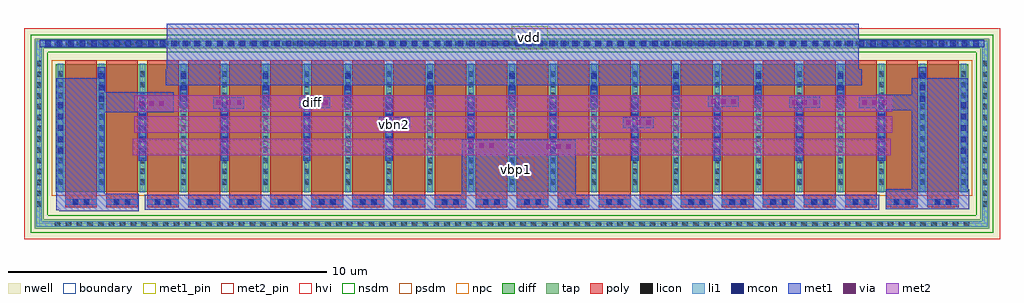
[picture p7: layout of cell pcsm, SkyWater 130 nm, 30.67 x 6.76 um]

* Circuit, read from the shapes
.subckt pcsm diff vbn2 vbp1 vdd
XM1 diff diff diff vdd sky130_fd_pr__pfet_g5v0d10v5 w=4 l=1 m=4
XM2 vdd vbp1 diff vdd sky130_fd_pr__pfet_g5v0d10v5 w=4 l=1 m=10
XM3 vbn2 vbp1 vdd vdd sky130_fd_pr__pfet_g5v0d10v5 w=4 l=1 m=4
XM4 vbp1 vbp1 vdd vdd sky130_fd_pr__pfet_g5v0d10v5 w=4 l=1 m=4
.ends

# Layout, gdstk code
from math import pi, radians
import gdstk
lib = gdstk.Library(unit=1e-6, precision=1e-09)
def R(c, l, rs):  # rectangles x0, y0, x1, y1
    for r in rs: c.add(gdstk.rectangle(r[:2], r[2:], *l))
def A(c, l, x, y, w, h, nx, ny, dx, dy):  # array of equal rectangles
    R(c, l, [(x+i*dx, y+j*dy, x+i*dx+w, y+j*dy+h) for i in range(nx) for j in range(ny)])
nwell = (64, 20)
diff = (65, 20)
tap = (65, 44)
poly = (66, 20)
licon = (66, 44)
li1 = (67, 20)
mcon = (67, 44)
met1_pin = (68, 16)
met1 = (68, 20)
via = (68, 44)
met2_pin = (69, 16)
met2 = (69, 20)
hvi = (75, 20)
nsdm = (93, 44)
psdm = (94, 20)
npc = (95, 20)
boundary = (235, 4)

viam1m2_1u = lib.new_cell('viam1m2_1u')
R(viam1m2_1u, met1, [(-0.02,-0.04,0.33,0.94)])
A(viam1m2_1u, via, 0.075, 0.06, 0.15, 0.15, 1, 3, 0, 0.32)
R(viam1m2_1u, met2, [(-0.02,-0.04,0.33,0.94)])

sky130_fd_pr__pfet_g5v0d = lib.new_cell('sky130_fd_pr__pfet_g5v0d10v5_FP7AX8')
R(sky130_fd_pr__pfet_g5v0d, nwell, [(-15.335,-3.31,15.335,3.31)])
R(sky130_fd_pr__pfet_g5v0d, diff, [(-14.335,-1.82,14.335,2.18)])
R(sky130_fd_pr__pfet_g5v0d, tap, [(-15.005,-2.98,15.005,-2.69), (-15.005,-2.69,-14.715,2.69), (14.715,-2.69,15.005,2.69), (-15.005,2.69,15.005,2.98)])
A(sky130_fd_pr__pfet_g5v0d, poly, -14.045, -2.305, 1, 4.615, 22, 1, 1.29, 0)
A(sky130_fd_pr__pfet_g5v0d, licon, -14.365, -2.92, 0.17, 0.17, 85, 2, 0.34, 5.67)
A(sky130_fd_pr__pfet_g5v0d, licon, -14.945, -2.295, 0.17, 0.17, 1, 14, 0, 0.34)
A(sky130_fd_pr__pfet_g5v0d, licon, 14.775, -2.295, 0.17, 0.17, 1, 14, 0, 0.34)
A(sky130_fd_pr__pfet_g5v0d, licon, -14.275, -1.605, 0.17, 0.17, 23, 11, 1.29, 0.34)
R(sky130_fd_pr__pfet_g5v0d, licon, [(-13.8,-2.225,-13.63,-2.055), (-13.46,-2.225,-13.29,-2.055), (-12.51,-2.225,-12.34,-2.055), (-12.17,-2.225,-12,-2.055), (-11.22,-2.225,-11.05,-2.055), (-10.88,-2.225,-10.71,-2.055), (-9.93,-2.225,-9.76,-2.055), (-9.59,-2.225,-9.42,-2.055), (-8.64,-2.225,-8.47,-2.055), (-8.3,-2.225,-8.13,-2.055), (-7.35,-2.225,-7.18,-2.055), (-7.01,-2.225,-6.84,-2.055), (-6.06,-2.225,-5.89,-2.055), (-5.72,-2.225,-5.55,-2.055), (-4.77,-2.225,-4.6,-2.055), (-4.43,-2.225,-4.26,-2.055), (-3.48,-2.225,-3.31,-2.055), (-3.14,-2.225,-2.97,-2.055), (-2.19,-2.225,-2.02,-2.055), (-1.85,-2.225,-1.68,-2.055), (-0.9,-2.225,-0.73,-2.055), (-0.56,-2.225,-0.39,-2.055), (0.39,-2.225,0.56,-2.055), (0.73,-2.225,0.9,-2.055), (1.68,-2.225,1.85,-2.055), (2.02,-2.225,2.19,-2.055), (2.97,-2.225,3.14,-2.055), (3.31,-2.225,3.48,-2.055), (4.26,-2.225,4.43,-2.055), (4.6,-2.225,4.77,-2.055), (5.55,-2.225,5.72,-2.055), (5.89,-2.225,6.06,-2.055), (6.84,-2.225,7.01,-2.055), (7.18,-2.225,7.35,-2.055), (8.13,-2.225,8.3,-2.055), (8.47,-2.225,8.64,-2.055), (9.42,-2.225,9.59,-2.055), (9.76,-2.225,9.93,-2.055), (10.71,-2.225,10.88,-2.055), (11.05,-2.225,11.22,-2.055), (12,-2.225,12.17,-2.055), (12.34,-2.225,12.51,-2.055), (13.29,-2.225,13.46,-2.055), (13.63,-2.225,13.8,-2.055)])
A(sky130_fd_pr__pfet_g5v0d, li1, -14.045, -2.225, 1, 0.17, 22, 1, 1.29, 0)
A(sky130_fd_pr__pfet_g5v0d, li1, -14.275, -1.84, 0.17, 4.04, 23, 1, 1.29, 0)
R(sky130_fd_pr__pfet_g5v0d, li1, [(-14.945,-2.92,14.945,-2.75), (-14.945,-2.75,-14.775,2.75), (14.775,-2.75,14.945,2.75), (-14.945,2.75,14.945,2.92)])
A(sky130_fd_pr__pfet_g5v0d, mcon, -14.275, -0.625, 0.17, 0.17, 12, 5, 2.58, 0.36)
A(sky130_fd_pr__pfet_g5v0d, mcon, -12.985, 1.005, 0.17, 0.17, 11, 3, 2.58, 0.36)
A(sky130_fd_pr__pfet_g5v0d, mcon, -14.665, 2.75, 0.17, 0.17, 82, 1, 0.36, 0)
R(sky130_fd_pr__pfet_g5v0d, mcon, [(-13.81,-2.225,-13.64,-2.055), (-13.45,-2.225,-13.28,-2.055), (-12.52,-2.225,-12.35,-2.055), (-12.16,-2.225,-11.99,-2.055), (-11.23,-2.225,-11.06,-2.055), (-10.87,-2.225,-10.7,-2.055), (-9.94,-2.225,-9.77,-2.055), (-9.58,-2.225,-9.41,-2.055), (-8.65,-2.225,-8.48,-2.055), (-8.29,-2.225,-8.12,-2.055), (-7.36,-2.225,-7.19,-2.055), (-7,-2.225,-6.83,-2.055), (-6.07,-2.225,-5.9,-2.055), (-5.71,-2.225,-5.54,-2.055), (-4.78,-2.225,-4.61,-2.055), (-4.42,-2.225,-4.25,-2.055), (-3.49,-2.225,-3.32,-2.055), (-3.13,-2.225,-2.96,-2.055), (-2.2,-2.225,-2.03,-2.055), (-1.84,-2.225,-1.67,-2.055), (-0.91,-2.225,-0.74,-2.055), (-0.55,-2.225,-0.38,-2.055), (0.38,-2.225,0.55,-2.055), (0.74,-2.225,0.91,-2.055), (1.67,-2.225,1.84,-2.055), (2.03,-2.225,2.2,-2.055), (2.96,-2.225,3.13,-2.055), (3.32,-2.225,3.49,-2.055), (4.25,-2.225,4.42,-2.055), (4.61,-2.225,4.78,-2.055), (5.54,-2.225,5.71,-2.055), (5.9,-2.225,6.07,-2.055), (6.83,-2.225,7,-2.055), (7.19,-2.225,7.36,-2.055), (8.12,-2.225,8.29,-2.055), (8.48,-2.225,8.65,-2.055), (9.41,-2.225,9.58,-2.055), (9.77,-2.225,9.94,-2.055), (10.7,-2.225,10.87,-2.055), (11.06,-2.225,11.23,-2.055), (11.99,-2.225,12.16,-2.055), (12.35,-2.225,12.52,-2.055), (13.28,-2.225,13.45,-2.055), (13.64,-2.225,13.81,-2.055)])
A(sky130_fd_pr__pfet_g5v0d, met1, -14.025, -2.255, 0.96, 0.23, 22, 1, 1.29, 0)
A(sky130_fd_pr__pfet_g5v0d, met1, -14.305, -0.85, 0.23, 2.06, 12, 1, 2.58, 0)
A(sky130_fd_pr__pfet_g5v0d, met1, -13.015, 0.81, 0.23, 1.285, 11, 1, 2.58, 0)
R(sky130_fd_pr__pfet_g5v0d, met1, [(-14.835,2.72,14.835,2.95)])
R(sky130_fd_pr__pfet_g5v0d, hvi, [(-15.335,-3.31,15.335,3.31)])
R(sky130_fd_pr__pfet_g5v0d, nsdm, [(-15.13,-3.105,15.13,-2.565), (-15.13,-2.565,-14.59,2.565), (14.59,-2.565,15.13,2.565), (-15.13,2.565,15.13,3.105)])
R(sky130_fd_pr__pfet_g5v0d, psdm, [(-14.46,-1.945,14.46,2.305)])
A(sky130_fd_pr__pfet_g5v0d, npc, -13.9, -2.325, 0.71, 0.37, 22, 1, 1.29, 0)
R(sky130_fd_pr__pfet_g5v0d, boundary, [(-14.86,-2.835,14.86,2.835)])

pcsm = lib.new_cell('pcsm')
R(pcsm, met1_pin, [(23.97,-8.29,25.1,-7.57), (24.39,-4.15,25.52,-3.43)])
R(pcsm, met1, [(10.17,-9.24,12.67,-9.22), (10.08,-9.22,12.67,-8.7), (12.85,-9.2,35.94,-8.73), (36.14,-9.18,38.77,-8.55), (22.81,-8.73,26.4,-7), (10.08,-8.7,11.59,-6.14), (36.95,-8.55,38.71,-6.08), (10.08,-6.14,13.77,-5.51), (35.82,-6.08,38.71,-5.59), (36.95,-5.59,38.71,-5.06), (10.08,-5.51,11.59,-5.06), (13.52,-5.28,35.38,-4.78), (13.54,-4.78,35.29,-3.36)])
R(pcsm, met2_pin, [(20.34,-6.67,21.04,-6.37), (17.83,-5.93,18.4,-5.71)])
R(pcsm, met2, [(12.48,-7.49,36.29,-6.97), (12.53,-6.78,36.34,-6.26), (12.53,-6.12,36.34,-5.6)])
pcsm.add(gdstk.Reference(viam1m2_1u, (25.4,-7.06), rotation=3*pi/2))
pcsm.add(gdstk.Reference(viam1m2_1u, (22.97,-7.03), rotation=3*pi/2))
pcsm.add(gdstk.Reference(viam1m2_1u, (33.14,-5.67), rotation=3*pi/2))
pcsm.add(gdstk.Reference(viam1m2_1u, (30.58,-5.64), rotation=3*pi/2))
pcsm.add(gdstk.Reference(viam1m2_1u, (27.91,-6.31), rotation=3*pi/2))
pcsm.add(gdstk.Reference(viam1m2_1u, (20.25,-6.31), rotation=3*pi/2))
pcsm.add(gdstk.Reference(viam1m2_1u, (17.75,-5.68), rotation=3*pi/2))
pcsm.add(gdstk.Reference(viam1m2_1u, (15.04,-5.69), rotation=3*pi/2))
pcsm.add(gdstk.Reference(viam1m2_1u, (12.61,-5.71), rotation=3*pi/2))
pcsm.add(gdstk.Reference(viam1m2_1u, (35.33,-5.68), rotation=3*pi/2))
pcsm.add(gdstk.Reference(sky130_fd_pr__pfet_g5v0d, (24.395,-6.81), rotation=pi, x_reflection=True))
pcsm.add(gdstk.Label('vdd', (24.955,-3.79), layer=68, texttype=5))
pcsm.add(gdstk.Label('vbp1', (24.535,-7.93), layer=68, texttype=5))
pcsm.add(gdstk.Label('diff', (18.115,-5.82), layer=69, texttype=5))
pcsm.add(gdstk.Label('vbn2', (20.69,-6.52), layer=69, texttype=5))

lib.write_gds('pcsm.gds')
